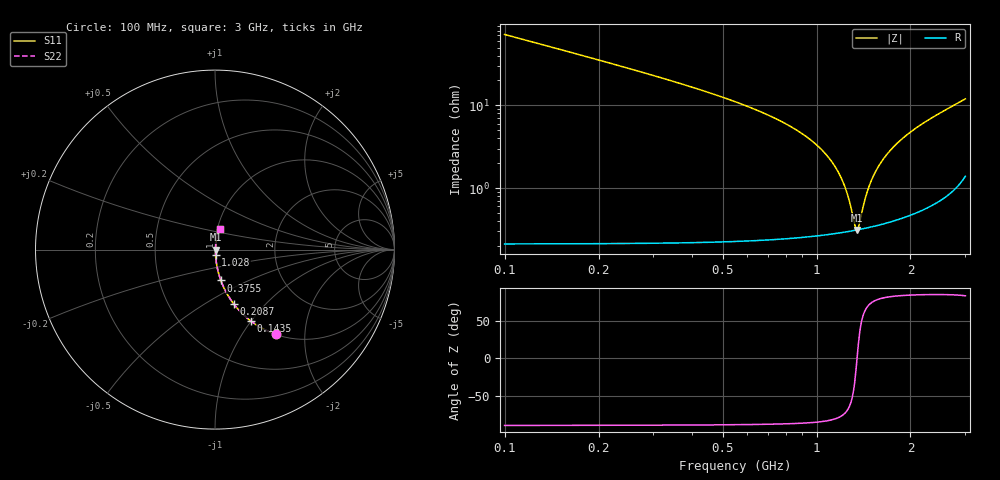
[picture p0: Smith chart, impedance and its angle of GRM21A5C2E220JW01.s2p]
!Murata Part Number: GRM21A5C2E220JW01
!These Parameters are Measured in Series Mode Connection
!Data Generated on Mar 30, 2021
!  o--ll--o
!Port1  Port2
!  o------o
!Operation Temp=25[degC], DC Bias Voltage=0[V]
!Freq. Start=100[MHz] Stop=3[GHz] 401[Steps]
# Hz S RI R 50
!Freq.(Hz) S11(Real) S11(Imag) S21(Real) S21(Imag) S12(Real) S12(Imag) S22(Real) S22(Imag)
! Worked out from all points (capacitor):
!   401 points, 100 MHz to 3 GHz, reference 50 ohm
!   read as one part in series: C = 22 pF near 114.5 MHz
!   lowest |Z| = 312 mohm at 1.347 GHz (marker M1)
!   series resonance near 1.348 GHz, so ESL is about 630 pH
!   S11 on the Smith chart (normalised r, x): 100 MHz: 1.00, -1.44; 143.5 MHz: 1.00, -1.00; 208.8 MHz: 1.00, -0.68; 375.5 MHz: 1.00, -0.36; 1.028 GHz: 1.01, -0.06; 3 GHz: 1.03, +0.24
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1e8  0.3416 -0.4728  0.6584 0.4728  0.6584 0.4728  0.3416 -0.4728
1.435e8  0.2001 -0.398  0.7999 0.398  0.7999 0.398  0.2001 -0.398
2.0875e8  0.1043 -0.3026  0.8957 0.3026  0.8957 0.3026  0.1043 -0.3026
3.755e8  0.0328 -0.172  0.9672 0.172  0.9672 0.172  0.0328 -0.172
5.8575e8  0.0123 -0.0994  0.9877 0.0994  0.9877 0.0994  0.0123 -0.0994
8.6125e8  0.00502 -0.0501  0.995 0.0501  0.995 0.0501  0.00502 -0.0501
1.028e9  0.00356 -0.0299  0.9964 0.0299  0.9964 0.0299  0.00356 -0.0299
1.0715e9  0.00336 -0.0253  0.9966 0.0253  0.9966 0.0253  0.00336 -0.0253
1.15125e9  0.00312 -0.0174  0.9969 0.0174  0.9969 0.0174  0.00312 -0.0174
1.2165e9  0.00304 -0.0113  0.997 0.0113  0.997 0.0113  0.00304 -0.0113
1.26725e9  0.00303 -0.00685  0.997 0.00685  0.997 0.00685  0.00303 -0.00685
1.32525e9  0.00308 -0.00192  0.9969 0.00192  0.9969 0.00192  0.00308 -0.00192
1.347e9  0.00311 -0.000117  0.9969 0.000117  0.9969 0.000117  0.00311 -0.000117
1.36875e9  0.00315 0.00166  0.9968 -0.00166  0.9968 -0.00166  0.00315 0.00166
1.4195e9  0.00327 0.00571  0.9967 -0.00571  0.9967 -0.00571  0.00327 0.00571
1.45575e9  0.00338 0.00854  0.9966 -0.00854  0.9966 -0.00854  0.00338 0.00854
1.55e9  0.00373 0.0157  0.9963 -0.0157  0.9963 -0.0157  0.00373 0.0157
1.637e9  0.00416 0.022  0.9958 -0.022  0.9958 -0.022  0.00416 0.022
1.74575e9  0.00482 0.0296  0.9952 -0.0296  0.9952 -0.0296  0.00482 0.0296
2.03575e9  0.00723 0.0492  0.9928 -0.0492  0.9928 -0.0492  0.00723 0.0492
2.5215e9  0.0139 0.0812  0.9861 -0.0812  0.9861 -0.0812  0.0139 0.0812
3e9  0.0272 0.1143  0.9728 -0.1143  0.9728 -0.1143  0.0272 0.1143
